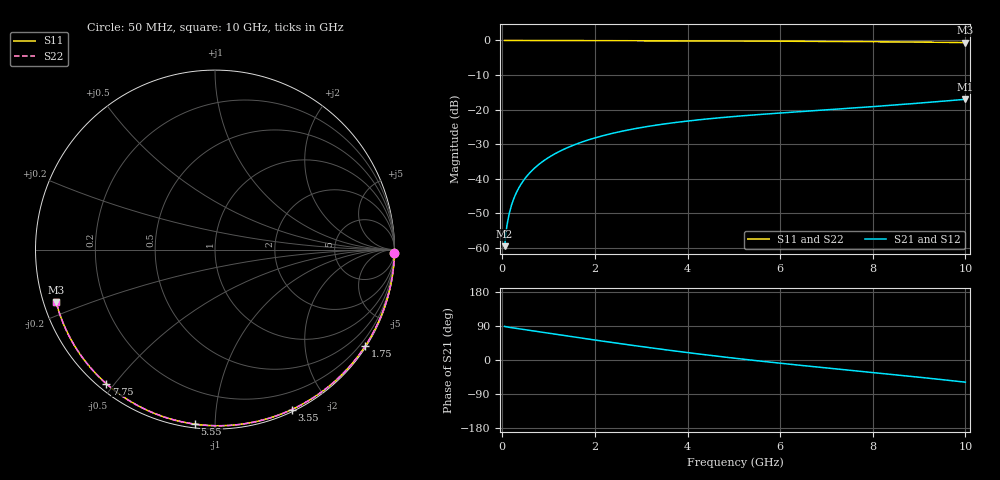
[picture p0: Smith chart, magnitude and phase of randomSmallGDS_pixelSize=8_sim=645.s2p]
! freq	dB(S11)	phase(S11)	dB(S12)	phase(S12)
!  dB(S21)	phase(S21)	dB(S22)	phase(S22)
!S-par simulation data
#  GHz  S  DB  R 50
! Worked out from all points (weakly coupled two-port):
!   200 points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, 50 MHz to 10 GHz, reference 50 ohm
!   highest |S21| = -17.02 dB at 10 GHz (marker M1); lowest = -59.5 dB at 50 MHz (marker M2)
!   lowest |S11| = -0.6 dB at 10 GHz (marker M3), VSWR 28.36, Z = 1.81 - j8.05 ohm
!   |S11| at or under -10 dB: nowhere
!   |S22| runs from -0.6 to 0.0 dB; largest |S21 - S12| = 0
!   S11 on the Smith chart (normalised r, x): 50 MHz: open; 1.75 GHz: 0.03, -3.40; 3.55 GHz: 0.02, -1.59; 5.55 GHz: 0.02, -0.89; 7.75 GHz: 0.02, -0.48; 10 GHz: 0.04, -0.16
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0.05  -0.00 -1.0  -59.48 88.6  -59.48 88.6  -0.00 -1.0
0.1  -0.00 -1.9  -53.51 87.3  -53.51 87.3  -0.00 -1.9
0.15  -0.00 -2.9  -50.03 86.3  -50.03 86.3  -0.00 -2.9
0.2  -0.00 -3.8  -47.58 85.3  -47.58 85.3  -0.00 -3.8
0.25  -0.00 -4.8  -45.67 84.4  -45.67 84.4  -0.00 -4.8
0.35  -0.01 -6.7  -42.80 82.6  -42.80 82.6  -0.01 -6.7
0.5  -0.01 -9.5  -39.74 79.9  -39.74 79.9  -0.01 -9.5
0.7  -0.02 -13.3  -36.87 76.3  -36.87 76.3  -0.02 -13.3
1  -0.02 -18.9  -33.84 70.8  -33.84 70.8  -0.02 -18.9
1.35  -0.03 -25.4  -31.34 64.4  -31.34 64.4  -0.03 -25.4
1.75  -0.05 -32.8  -29.23 57.2  -29.23 57.2  -0.05 -32.7
2.6  -0.07 -48.0  -26.20 42.3  -26.20 42.3  -0.07 -48.0
3.4  -0.10 -61.9  -24.33 29.0  -24.33 29.0  -0.10 -61.9
3.55  -0.10 -64.4  -24.05 26.6  -24.05 26.6  -0.10 -64.4
4.3  -0.13 -76.9  -22.86 15.0  -22.86 15.0  -0.13 -76.8
5.05  -0.16 -88.8  -21.94 4.2  -21.94 4.2  -0.16 -88.8
5.55  -0.18 -96.6  -21.41 -2.6  -21.41 -2.6  -0.18 -96.6
6.7  -0.25 -113.8  -20.34 -17.3  -20.34 -17.3  -0.25 -113.8
7.75  -0.34 -129.1  -19.37 -30.0  -19.37 -30.0  -0.34 -129.0
8.35  -0.40 -137.7  -18.79 -37.3  -18.79 -37.3  -0.40 -137.6
9.2  -0.50 -149.9  -17.90 -47.9  -17.90 -47.9  -0.50 -149.9
10  -0.61 -161.7  -17.02 -58.5  -17.02 -58.5  -0.61 -161.6
